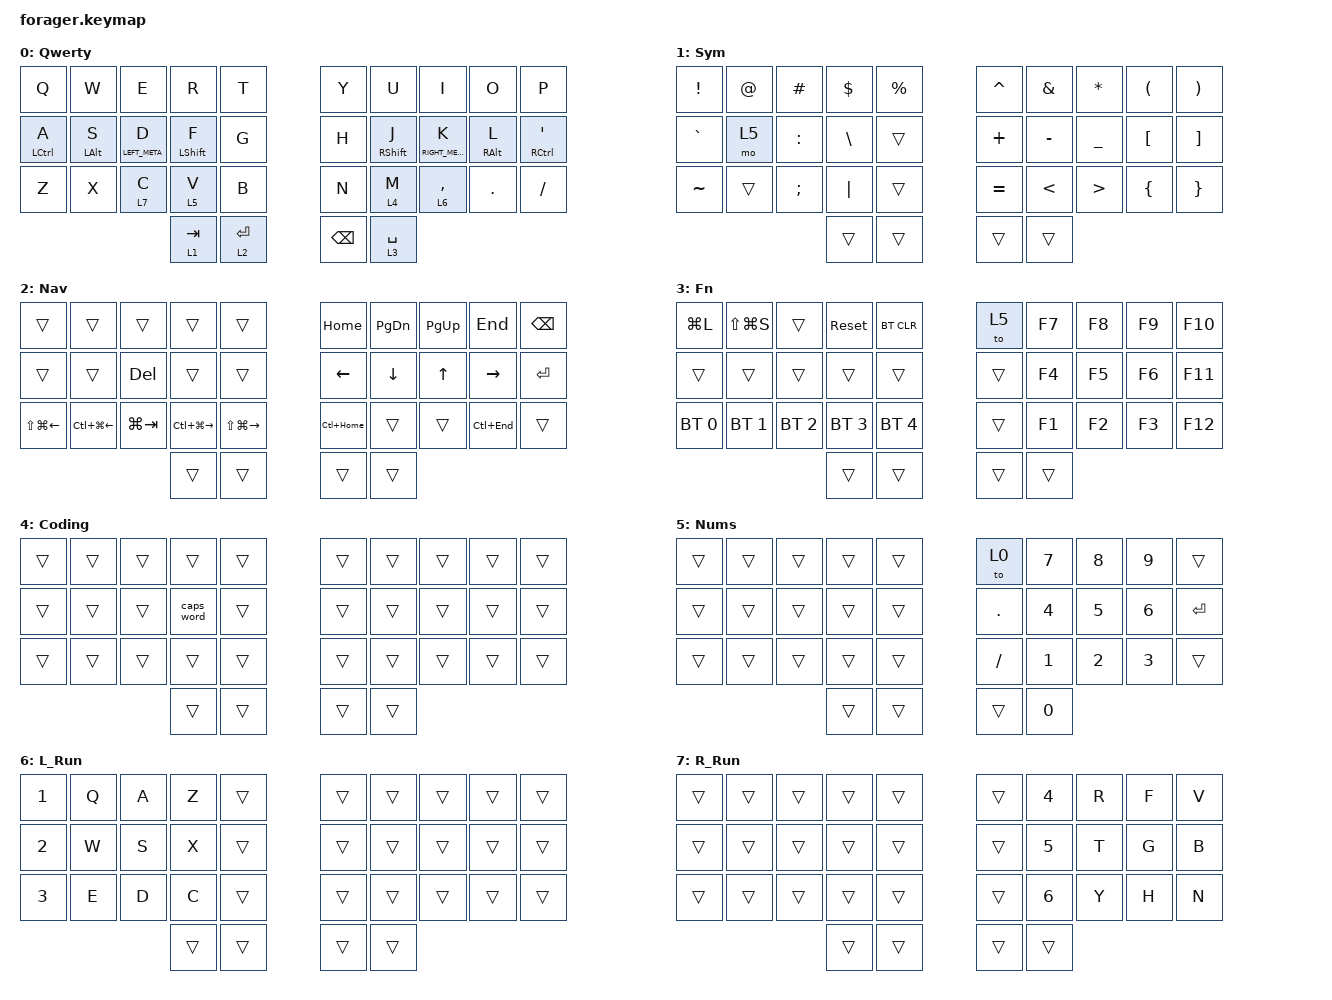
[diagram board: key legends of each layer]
#include <behaviors.dtsi>
#include <dt-bindings/zmk/bt.h>
#include <dt-bindings/zmk/keys.h>

#define BASE 0
#define NAV  1
#define SYM  2
#define ADJ  3

/ {
    behaviors {
        hrl: HRL {
            compatible = "zmk,behavior-hold-tap";
            bindings = <&kp>, <&kp>;

            #binding-cells = <2>;
            tapping-term-ms = <280>;
            quick-tap-ms = <175>;
            require-prior-idle-ms = <150>;
            flavor = "balanced";
            hold-trigger-key-positions = <5 6 7 8 9 15 16 17 18 19 25 26 27 28 29 33 30 31 32>;
            label = "HRL";
            hold-trigger-on-release;
        };

        hrr: HRR {
            compatible = "zmk,behavior-hold-tap";
            bindings = <&kp>, <&kp>;

            #binding-cells = <2>;
            tapping-term-ms = <280>;
            quick-tap-ms = <175>;
            require-prior-idle-ms = <150>;
            flavor = "balanced";
            hold-trigger-key-positions = <0 1 2 3 4 10 11 12 13 14 20 21 22 23 24 30 31 32 33>;
            label = "HRR";
            hold-trigger-on-release;
        };

        as_ht: as_ht {
            compatible = "zmk,behavior-hold-tap";
            label = "AS_HT";
            bindings = <&shifted>, <&kp>;

            #binding-cells = <2>;
            tapping-term-ms = <250>;
            flavor = "tap-preferred";
        };
    };

    combos {
        compatible = "zmk,combos";

        Caps_Lock {
            bindings = <&kp CAPSLOCK>;
            key-positions = <16 13>;
        };

        Esc {
            bindings = <&kp ESC>;
            key-positions = <0 9>;
        };
    };

    macros {
        shifted: shifted {
            compatible = "zmk,behavior-macro-one-param";
            #binding-cells = <1>;
            bindings =
                <&macro_press>,
                <&kp LEFT_SHIFT &macro_param_1to1>,
                <&macro_tap>,
                <&kp MACRO_PLACEHOLDER>,
                <&macro_release>,
                <&kp LEFT_SHIFT>;

            label = "SHIFTED";
        };

        as: as {
            compatible = "zmk,behavior-macro-one-param";
            #binding-cells = <1>;
            bindings =
                <&macro_press>,
                <&macro_param_1to1 &macro_param_1to2 &as_ht MACRO_PLACEHOLDER MACRO_PLACEHOLDER>,
                <&macro_pause_for_release>,
                <&macro_release>,
                <&macro_param_1to1 &macro_param_1to2 &as_ht MACRO_PLACEHOLDER MACRO_PLACEHOLDER>;

            label = "AS";
        };
    };

    keymap {
        compatible = "zmk,keymap";

        Qwerty {
            bindings = <
&kp Q        &kp W  &kp E           &kp R  &kp T            &kp Y  &kp U             &kp I  &kp O      &kp P
&mt LCTRL A         &mt LEFT_ALT S         &mt LEFT_META D         &mt LEFT_SHIFT F         &kp G                                             &kp H          &mt RIGHT_SHIFT J    &mt RIGHT_META K    &mt RIGHT_ALT L    &mt RCTRL SQT
&kp Z               &kp X                  &lt 7 C                 &lt 5 V                  &kp B                                             &kp N          &lt 4 M              &lt 6 COMMA         &kp DOT            &kp FSLH
                                                                                            &lt 1 TAB         &lt 2 ENTER    &kp BACKSPACE    &lt 3 SPACE
            >;
        };

        Sym {
            bindings = <
&kp EXCLAMATION  &kp AT_SIGN  &kp POUND  &kp DOLLAR  &kp PERCENT    &kp CARET  &kp AMPERSAND  &kp ASTERISK  &kp LEFT_PARENTHESIS  &kp RIGHT_PARENTHESIS
&kp GRAVE                     &mo 5                  &kp COLON                 &kp BACKSLASH                &trans                                                           &kp PLUS     &kp MINUS        &kp UNDERSCORE      &kp LEFT_BRACKET    &kp RIGHT_BRACKET
&kp TILDE                     &trans                 &kp SEMICOLON             &kp PIPE                     &trans                                                           &kp EQUAL    &kp LESS_THAN    &kp GREATER_THAN    &kp LEFT_BRACE      &kp RIGHT_BRACE
                                                                                                            &trans                                       &trans    &trans    &trans
            >;
        };

        Nav {
            bindings = <
&trans                  &trans  &trans                  &trans  &trans       &kp HOME  &kp PAGE_DOWN            &kp PAGE_UP  &kp END                  &kp BACKSPACE
&trans                          &trans                          &kp DELETE             &trans                                &trans                                                      &kp LEFT_ARROW    &kp DOWN_ARROW    &kp UP_ARROW    &kp RIGHT_ARROW    &kp ENTER
&kp LS(LG(LEFT_ARROW))          &kp LC(LG(LEFT_ARROW))          &kp LG(TAB)            &kp LC(LG(RIGHT_ARROW))               &kp LS(LG(RIGHT_ARROW))                                     &kp LC(HOME)      &trans            &trans          &kp LC(END)        &trans
                                                                                                                             &trans                                  &trans    &trans    &trans
            >;
        };

        Fn {
            bindings = <
&kp LG(L)     &kp LS(LG(S))  &trans        &sys_reset  &bt BT_CLR    &to 5  &kp F7        &kp F8  &kp F9        &kp F10
&trans                       &trans                    &trans               &trans                &trans                                     &trans    &kp F4    &kp F5    &kp F6    &kp F11
&bt BT_SEL 0                 &bt BT_SEL 1              &bt BT_SEL 2         &bt BT_SEL 3          &bt BT_SEL 4                               &trans    &kp F1    &kp F2    &kp F3    &kp F12
                                                                                                  &trans                 &trans    &trans    &trans
            >;
        };

        Coding {
            bindings = <
&trans  &trans  &trans  &trans  &trans  &trans  &trans      &trans  &trans  &trans
&trans          &trans          &trans          &caps_word          &trans                              &trans    &trans    &trans    &trans    &trans
&trans          &trans          &trans          &trans              &trans                              &trans    &trans    &trans    &trans    &trans
                                                                    &trans          &trans    &trans    &trans
            >;
        };

        Nums {
            bindings = <
&trans  &trans  &trans  &trans  &trans  &to 0  &kp NUMBER_7  &kp NUMBER_8  &kp NUMBER_9  &trans
&trans          &trans          &trans         &trans                      &trans                                    &kp PERIOD    &kp NUMBER_4    &kp NUMBER_5    &kp NUMBER_6    &kp ENTER
&trans          &trans          &trans         &trans                      &trans                                    &kp SLASH     &kp NUMBER_1    &kp NUMBER_2    &kp NUMBER_3    &trans
                                                                           &trans                &trans    &trans    &kp N0
            >;
        };

        L_Run {
            bindings = <
&kp N1  &kp Q  &kp A  &kp Z  &trans  &trans  &trans  &trans  &trans  &trans
&kp N2         &kp W         &kp S           &kp X           &trans                              &trans    &trans    &trans    &trans    &trans
&kp N3         &kp E         &kp D           &kp C           &trans                              &trans    &trans    &trans    &trans    &trans
                                                             &trans          &trans    &trans    &trans
            >;
        };

        R_Run {
            bindings = <
&trans  &trans  &trans  &trans  &trans  &trans  &kp N4  &kp R  &kp F   &kp V
&trans          &trans          &trans          &trans         &trans                             &trans    &kp N5    &kp T    &kp G    &kp B
&trans          &trans          &trans          &trans         &trans                             &trans    &kp N6    &kp Y    &kp H    &kp N
                                                               &trans         &trans    &trans    &trans
            >;
        };
    };
};
